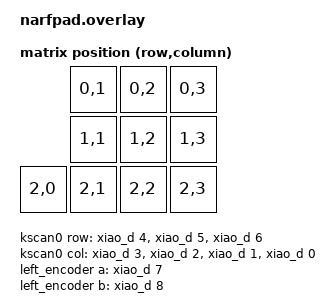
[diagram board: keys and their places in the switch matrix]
/*
 * Copyright (c) 2020 The ZMK Contributors
 *
 * SPDX-License-Identifier: MIT
 */

#include <dt-bindings/zmk/matrix_transform.h>

/ {
    chosen {
        zmk,kscan = &kscan0;
        zmk,matrix_transform = &default_transform;
    };

    default_transform: keymap_transform_0 {
        compatible = "zmk,matrix-transform";
        columns = <4>;
        rows = <3>;
        map = <
                RC(0,1) RC(0,2) RC(0,3)
                RC(1,1) RC(1,2) RC(1,3)
        RC(2,0) RC(2,1) RC(2,2) RC(2,3)
        >;
    };

    kscan0: kscan0 {
        compatible = "zmk,kscan-gpio-matrix";
        diode-direction = "col2row";
        wakeup-source;

        /* QMK MATRIX_ROW_PINS: GP6, GP7, GP0 -> D4, D5, D6 */
        row-gpios
            = <&xiao_d 4 (GPIO_ACTIVE_HIGH | GPIO_PULL_DOWN)>
            , <&xiao_d 5 (GPIO_ACTIVE_HIGH | GPIO_PULL_DOWN)>
            , <&xiao_d 6 (GPIO_ACTIVE_HIGH | GPIO_PULL_DOWN)>
            ;

        /* QMK MATRIX_COL_PINS: GP29, GP28, GP27, GP26 -> D3, D2, D1, D0 */
        col-gpios
            = <&xiao_d 3 GPIO_ACTIVE_HIGH>
            , <&xiao_d 2 GPIO_ACTIVE_HIGH>
            , <&xiao_d 1 GPIO_ACTIVE_HIGH>
            , <&xiao_d 0 GPIO_ACTIVE_HIGH>
            ;
    };

left_encoder: encoder_left {
        compatible = "alps,ec11";
        a-gpios = <&xiao_d 7 (GPIO_ACTIVE_HIGH | GPIO_PULL_UP)>;
        b-gpios = <&xiao_d 8 (GPIO_ACTIVE_HIGH | GPIO_PULL_UP)>;
        /* Steps represents the total pulses per full 360 rotation */
        steps = <80>; 
        status = "okay";
    };

    sensors: sensors {
        compatible = "zmk,keymap-sensors";
        sensors = <&left_encoder>;
        /* Triggers should be 1/4 of the steps for a 1-to-1 feel */
        triggers-per-rotation = <20>;
    };

};

